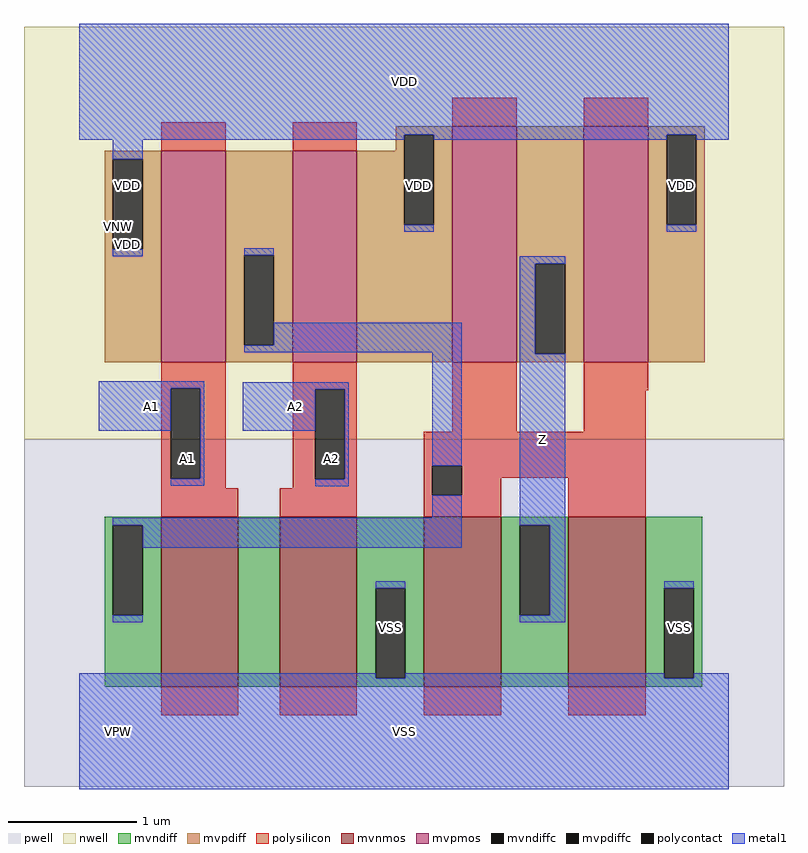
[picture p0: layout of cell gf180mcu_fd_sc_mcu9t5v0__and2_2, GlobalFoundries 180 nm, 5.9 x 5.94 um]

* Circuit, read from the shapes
.subckt gf180mcu_fd_sc_mcu9t5v0__and2_2 A1 A2 Z VDD VNW VPW VSS
XM1 n1 A1 n2 VPW nfet_06v0 w=1.32u l=0.6u
XM2 VSS A2 n1 VPW nfet_06v0 w=1.32u l=0.6u
XM3 Z n2 VSS VPW nfet_06v0 w=1.32u l=0.6u m=2
XM4 n2 A1 VDD VNW pfet_06v0 w=1.64u l=0.5u
XM5 VDD A2 n2 VNW pfet_06v0 w=1.64u l=0.5u
XM6 Z n2 VDD VNW pfet_06v0 w=1.83u l=0.5u m=2
.ends

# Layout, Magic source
magic
tech gf180mcuD
magscale 1 10
<< nwell >>
rect -86 453 1094 1094
<< pwell >>
rect -86 -86 1094 453
<< mvnmos >>
rect 127 69 247 333
rect 311 69 431 333
rect 535 69 655 333
rect 759 69 879 333
<< mvpmos >>
rect 127 573 227 901
rect 331 573 431 901
rect 579 573 679 939
rect 783 573 883 939
<< mvndiff >>
rect 39 320 127 333
rect 39 180 52 320
rect 98 180 127 320
rect 39 69 127 180
rect 247 69 311 333
rect 431 222 535 333
rect 431 82 460 222
rect 506 82 535 222
rect 431 69 535 82
rect 655 320 759 333
rect 655 180 684 320
rect 730 180 759 320
rect 655 69 759 180
rect 879 222 967 333
rect 879 82 908 222
rect 954 82 967 222
rect 879 69 967 82
<< mvpdiff >>
rect 491 926 579 939
rect 491 901 504 926
rect 39 888 127 901
rect 39 748 52 888
rect 98 748 127 888
rect 39 573 127 748
rect 227 739 331 901
rect 227 599 256 739
rect 302 599 331 739
rect 227 573 331 599
rect 431 786 504 901
rect 550 786 579 926
rect 431 573 579 786
rect 679 726 783 939
rect 679 586 708 726
rect 754 586 783 726
rect 679 573 783 586
rect 883 926 971 939
rect 883 786 912 926
rect 958 786 971 926
rect 883 573 971 786
<< mvndiffc >>
rect 52 180 98 320
rect 460 82 506 222
rect 684 180 730 320
rect 908 82 954 222
<< mvpdiffc >>
rect 52 748 98 888
rect 256 599 302 739
rect 504 786 550 926
rect 708 586 754 726
rect 912 786 958 926
<< polysilicon >>
rect 127 901 227 945
rect 331 901 431 945
rect 579 939 679 983
rect 783 939 883 983
rect 127 532 227 573
rect 127 392 142 532
rect 188 392 227 532
rect 127 377 227 392
rect 331 531 431 573
rect 331 391 366 531
rect 412 391 431 531
rect 579 465 679 573
rect 783 529 883 573
rect 783 465 879 529
rect 331 377 431 391
rect 127 333 247 377
rect 311 333 431 377
rect 535 412 879 465
rect 535 366 548 412
rect 594 393 879 412
rect 594 366 655 393
rect 535 333 655 366
rect 759 333 879 393
rect 127 25 247 69
rect 311 25 431 69
rect 535 25 655 69
rect 759 25 879 69
<< polycontact >>
rect 142 392 188 532
rect 366 391 412 531
rect 548 366 594 412
<< metal1 >>
rect 0 926 1008 1098
rect 0 918 504 926
rect 52 888 98 918
rect 550 918 912 926
rect 504 775 550 786
rect 958 918 1008 926
rect 912 775 958 786
rect 52 737 98 748
rect 256 739 302 750
rect 684 726 754 737
rect 302 599 594 634
rect 256 588 594 599
rect 30 532 194 543
rect 30 466 142 532
rect 188 392 194 532
rect 254 531 418 542
rect 254 466 366 531
rect 142 381 194 392
rect 412 391 418 531
rect 366 380 418 391
rect 548 412 594 588
rect 548 331 594 366
rect 52 320 594 331
rect 98 285 594 320
rect 684 586 708 726
rect 684 320 754 586
rect 52 169 98 180
rect 460 222 506 233
rect 0 82 460 90
rect 730 180 754 320
rect 684 169 754 180
rect 908 222 954 233
rect 506 82 908 90
rect 954 82 1008 90
rect 0 -90 1008 82
<< labels >>
flabel metal1 s 30 466 194 543 0 FreeSans 200 0 0 0 A1
port 1 nsew default input
flabel metal1 s 254 466 418 542 0 FreeSans 200 0 0 0 A2
port 2 nsew default input
flabel metal1 s 0 918 1008 1098 0 FreeSans 200 0 0 0 VDD
port 4 nsew power bidirectional abutment
flabel metal1 s 908 90 954 233 0 FreeSans 200 0 0 0 VSS
port 7 nsew ground bidirectional abutment
flabel metal1 s 684 169 754 737 0 FreeSans 200 0 0 0 Z
port 3 nsew default output
flabel nwell s 10 734 110 834 0 FreeSans 400 0 0 0 VNW
port 5 nsew power bidirectional
flabel pwell s 10 -50 110 50 0 FreeSans 400 0 0 0 VPW
port 6 nsew ground bidirectional
rlabel metal1 s 142 381 194 466 1 A1
port 1 nsew default input
rlabel metal1 s 366 380 418 466 1 A2
port 2 nsew default input
rlabel metal1 s 912 775 958 918 1 VDD
port 4 nsew power bidirectional abutment
rlabel metal1 s 504 775 550 918 1 VDD
port 4 nsew power bidirectional abutment
rlabel metal1 s 52 775 98 918 1 VDD
port 4 nsew power bidirectional abutment
rlabel metal1 s 52 737 98 775 1 VDD
port 4 nsew power bidirectional abutment
rlabel metal1 s 460 90 506 233 1 VSS
port 7 nsew ground bidirectional abutment
rlabel metal1 s 0 -90 1008 90 1 VSS
port 7 nsew ground bidirectional abutment
<< properties >>
string FIXED_BBOX 0 0 1008 1008
string GDS_END 1131788
string GDS_FILE $PDKPATH/libs.ref/gf180mcu_fd_sc_mcu9t5v0/gds/gf180mcu_fd_sc_mcu9t5v0.gds
string GDS_START 1127992
string LEFclass core
string LEFsite GF018hv5v_green_sc9
string LEFsymmetry X Y
<< end >>
